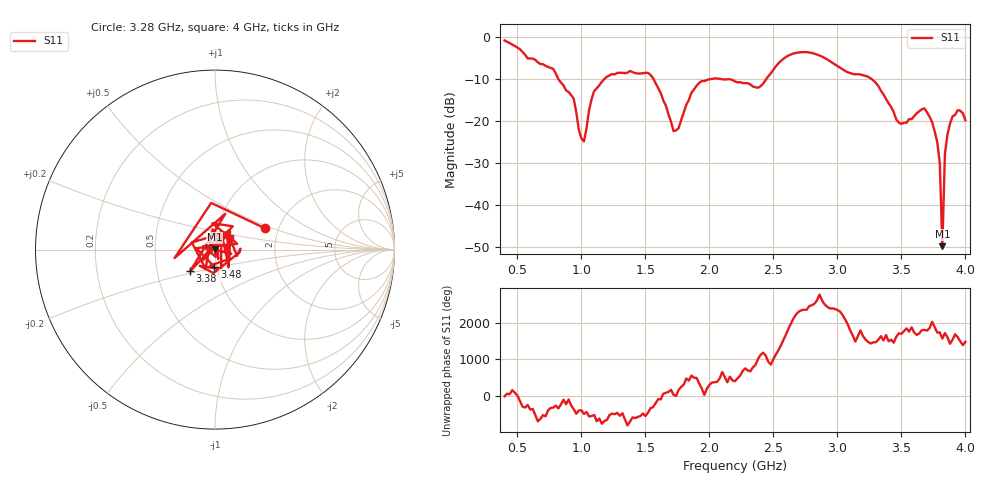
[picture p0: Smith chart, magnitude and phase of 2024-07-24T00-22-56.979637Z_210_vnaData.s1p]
!Created with skrf (http://scikit-rf.org).
# Hz S RI R 50.0
!freq ReS11 ImS11
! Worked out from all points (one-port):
!   181 points, 400 MHz to 4 GHz, reference 50 ohm
!   lowest |S11| = -49.8 dB at 3.82 GHz (marker M1), VSWR 1.01, Z = 49.8 + j0.263 ohm
!   |S11| at or under -10 dB: 819.5 MHz to 1.178 GHz (358.9 MHz wide, 35.9 % of centre); 1.564 GHz to 2.004 GHz (440.6 MHz wide, 24.7 % of centre); 3.267 GHz to end of sweep (the widest 3 of 4)
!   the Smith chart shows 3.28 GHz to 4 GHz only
!   S11 on the Smith chart (normalised r, x): 3.28 GHz: 1.70, +0.46; 3.38 GHz: 0.74, -0.18; 3.48 GHz: 0.97, -0.19; 4 GHz: 1.17, +0.15
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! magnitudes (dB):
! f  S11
! 400 MHz  -0.8
! 780 MHz  -7.6
! 860 MHz  -11.5
! 940 MHz  -14.7
! 980 MHz  -22.1
! 1.02 GHz  -24.8
! 1.1 GHz  -12.8
! 1.3 GHz  -8.5
! 1.54 GHz  -9.0
! 1.72 GHz  -22.4
! 1.76 GHz  -21.6
! 1.92 GHz  -10.9
! 2.2 GHz  -10.5
! 2.38 GHz  -12.1
! 2.66 GHz  -3.9
! 3.1 GHz  -8.5
! 3.28 GHz  -10.3
! 3.38 GHz  -14.7
! 3.48 GHz  -20.4
! 3.56 GHz  -19.5
! 3.68 GHz  -17.0
! 3.76 GHz  -22.5
! 3.8 GHz  -30.0
! 3.82 GHz  -49.8
! 3.84 GHz  -27.8
! 3.86 GHz  -23.2
! 3.94 GHz  -17.4
! 4 GHz  -19.8
